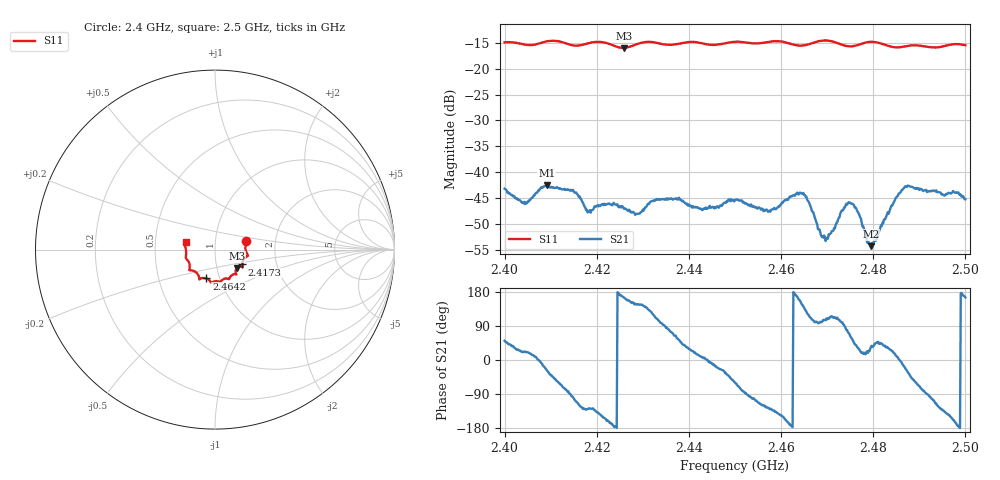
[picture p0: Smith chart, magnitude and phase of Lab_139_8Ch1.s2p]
# Hz S RI R 50
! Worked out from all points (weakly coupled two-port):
!   601 points, 2.4 GHz to 2.5 GHz, reference 50 ohm
!   highest |S21| = -42.54 dB at 2.4092 GHz (marker M1); lowest = -54.4 dB at 2.4795 GHz (marker M2)
!   lowest |S11| = -15.9 dB at 2.4258 GHz (marker M3), VSWR 1.38, Z = 62.2 - j13.2 ohm
!   |S11| at or under -10 dB: start of sweep to end of sweep
!   S12 and S22 are empty: the file has one direction only
!   S11 on the Smith chart (normalised r, x): 2.4 GHz: 1.41, +0.14; 2.4173 GHz: 1.34, -0.23; 2.4642 GHz: 0.86, -0.29; 2.5 GHz: 0.72, +0.06
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2.4e9  0.1736 0.0492  0.00438 0.00534  0 0  0 0
2.404333e9  0.1704 0.0212  0.00476 0.00195  0 0  0 0
2.409167e9  0.1823 -0.0293  0.00662 -0.00345  0 0  0 0
2.4145e9  0.1622 -0.0511  -0.00058 -0.00658  0 0  0 0
2.416667e9  0.1526 -0.0751  -0.00303 -0.0045  0 0  0 0
2.417333e9  0.152 -0.0826  -0.00291 -0.00362  0 0  0 0
2.425833e9  0.1212 -0.1036  -0.00433 0.00114  0 0  0 0
2.428833e9  0.1155 -0.1305  -0.00329 0.00217  0 0  0 0
2.433333e9  0.1126 -0.1366  -0.00142 0.00522  0 0  0 0
2.442667e9  0.0714 -0.1624  0.00436 0.000698  0 0  0 0
2.45e9  0.0295 -0.1807  0.00272 -0.00467  0 0  0 0
2.4575e9  -0.0166 -0.1823  -0.0027 -0.00324  0 0  0 0
2.464167e9  -0.0482 -0.1609  -0.00574 0.00266  0 0  0 0
2.466667e9  -0.0762 -0.1595  -0.00124 0.00402  0 0  0 0
2.4685e9  -0.0863 -0.1652  -0.000489 0.00256  0 0  0 0
2.469667e9  -0.0877 -0.1667  -0.000552 0.00208  0 0  0 0
2.473667e9  -0.095 -0.1394  -0.000207 0.00453  0 0  0 0
2.475333e9  -0.1098 -0.1236  0.00265 0.00414  0 0  0 0
2.4795e9  -0.1423 -0.1148  0.00158 0.00108  0 0  0 0
2.483333e9  -0.1405 -0.0894  0.0034 0.002  0 0  0 0
2.487333e9  -0.1574 -0.0546  0.00628 -0.00349  0 0  0 0
2.5e9  -0.1639 0.0418  -0.00527 0.00141  0 0  0 0
